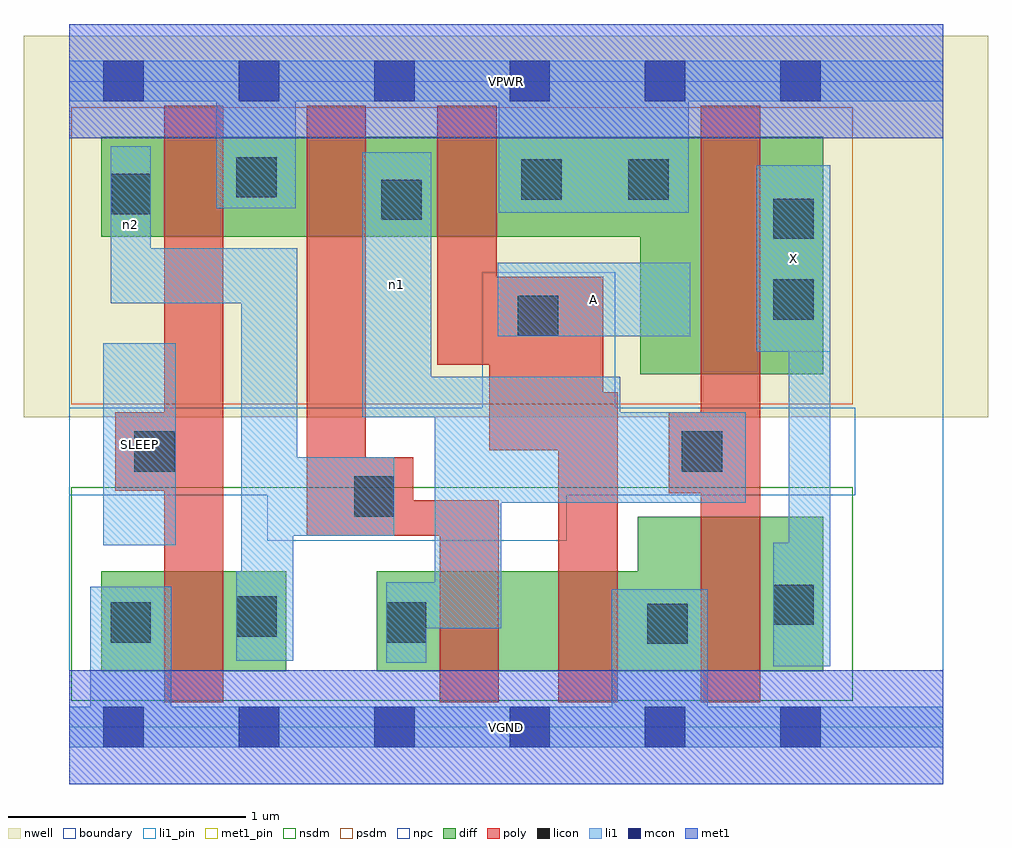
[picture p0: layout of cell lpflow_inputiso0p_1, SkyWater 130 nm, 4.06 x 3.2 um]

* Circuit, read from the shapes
.subckt lpflow_inputiso0p_1 A SLEEP VGND VPWR X n1 n2
XM1 n2 SLEEP VGND VSUBS sky130_fd_pr__nfet_01v8 w=0.42 l=0.25
XM2 n3 n2 n1 VSUBS sky130_fd_pr__nfet_01v8 w=0.42 l=0.25
XM3 VGND A n3 VSUBS sky130_fd_pr__nfet_01v8 w=0.42 l=0.25
XM4 X n1 VGND VSUBS sky130_fd_pr__nfet_01v8 w=0.65 l=0.25
XM5 VPWR SLEEP n2 n4 sky130_fd_pr__pfet_01v8 w=0.42 l=0.25
XM6 n1 n2 VPWR n4 sky130_fd_pr__pfet_01v8 w=0.42 l=0.25
XM7 VPWR A n1 n4 sky130_fd_pr__pfet_01v8 w=0.42 l=0.25
XM8 X n1 VPWR n4 sky130_fd_pr__pfet_01v8 w=1 l=0.25
.ends

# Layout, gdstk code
import gdstk
lib = gdstk.Library(unit=1e-6, precision=1e-09)
def R(c, l, rs):  # rectangles x0, y0, x1, y1
    for r in rs: c.add(gdstk.rectangle(r[:2], r[2:], *l))
def A(c, l, x, y, w, h, nx, ny, dx, dy):  # array of equal rectangles
    R(c, l, [(x+i*dx, y+j*dy, x+i*dx+w, y+j*dy+h) for i in range(nx) for j in range(ny)])
nwell = (64, 20)
diff = (65, 20)
poly = (66, 20)
licon = (66, 44)
li1_pin = (67, 16)
li1 = (67, 20)
mcon = (67, 44)
met1_pin = (68, 16)
met1 = (68, 20)
nsdm = (93, 44)
psdm = (94, 20)
npc = (95, 20)
boundary = (235, 4)

lpflow_inputiso0p_1 = lib.new_cell('lpflow_inputiso0p_1')
R(lpflow_inputiso0p_1, nwell, [(-0.19,1.305,3.87,2.91), (0,1.305,3.68,2.91)])
R(lpflow_inputiso0p_1, diff, [(0.135,0.235,0.915,0.655), (1.295,0.235,3.175,0.655), (2.395,0.235,3.175,0.885), (2.405,1.485,3.175,2.485), (0.135,2.065,3.175,2.485)])
R(lpflow_inputiso0p_1, poly, [(0.4,0.105,0.65,2.615), (1.56,0.105,1.81,0.955), (2.06,0.105,2.31,1.41), (2.66,0.105,2.91,2.615), (1,0.805,1.25,2.615), (1,0.805,1.45,1.135), (1,0.805,1.81,0.955), (2.525,0.985,2.91,1.325), (0.195,0.995,0.65,1.325), (1.77,1.165,2.25,1.895), (1.55,1.525,1.8,2.615)])
R(lpflow_inputiso0p_1, licon, [(2.435,0.35,2.605,0.52), (0.175,0.355,0.345,0.525), (1.335,0.355,1.505,0.525), (0.705,0.38,0.875,0.55), (2.965,0.43,3.135,0.6), (1.2,0.885,1.37,1.055), (0.275,1.075,0.445,1.245), (2.58,1.075,2.75,1.245), (1.89,1.645,2.06,1.815), (2.965,1.715,3.135,1.885), (2.965,2.055,3.135,2.225), (1.315,2.135,1.485,2.305), (0.175,2.16,0.345,2.33), (1.905,2.22,2.075,2.39), (2.355,2.22,2.525,2.39), (0.705,2.23,0.875,2.4)])
R(lpflow_inputiso0p_1, li1_pin, [(0.145,0.765,0.45,1.615), (2.895,1.58,3.205,2.365), (1.805,1.645,2.615,1.955)])
R(lpflow_inputiso0p_1, li1, [(0,-0.085,3.68,0.085), (0.09,-0.085,0.43,0.59), (2.285,-0.085,2.69,0.58), (2.965,0.255,3.205,0.775), (3.03,0.255,3.205,2.365), (1.335,0.27,1.505,0.61), (0.705,0.28,0.945,0.655), (0.725,0.28,0.945,2.015), (1.335,0.415,1.82,0.61), (1.54,0.415,1.82,1.475), (0.145,0.765,0.45,1.615), (0.725,0.805,1.37,1.135), (0.725,0.805,0.96,2.015), (1.54,0.945,2.85,1.325), (1.235,1.305,1.525,2.42), (1.235,1.305,2.32,1.475), (2.895,1.58,3.205,2.365), (1.805,1.645,2.615,1.955), (0.175,1.785,0.345,2.445), (0.175,1.785,0.96,2.015), (1.81,2.165,2.61,2.805), (0.62,2.185,0.955,2.805), (0,2.635,3.68,2.805)])
A(lpflow_inputiso0p_1, mcon, 0.145, -0.085, 0.17, 0.17, 6, 2, 0.57, 2.72)
R(lpflow_inputiso0p_1, met1_pin, [(0,-0.24,3.68,0.24), (0,2.48,3.68,2.96)])
R(lpflow_inputiso0p_1, met1, [(0,-0.24,3.68,0.24), (0,2.48,3.68,2.96)])
R(lpflow_inputiso0p_1, nsdm, [(0.01,0.11,3.3,1.01)])
R(lpflow_inputiso0p_1, psdm, [(0.01,1.36,3.3,2.61)])
R(lpflow_inputiso0p_1, npc, [(0.835,0.785,2.095,1.345), (0,0.975,3.31,1.345), (1.74,0.975,2.3,1.915)])
R(lpflow_inputiso0p_1, boundary, [(0,0,3.68,2.72)])
lpflow_inputiso0p_1.add(gdstk.Label('A', (2.21,1.8), layer=67, texttype=5))
lpflow_inputiso0p_1.add(gdstk.Label('SLEEP', (0.297,1.19), layer=67, texttype=5))
lpflow_inputiso0p_1.add(gdstk.Label('X', (3.05,1.972), layer=67, texttype=5))
lpflow_inputiso0p_1.add(gdstk.Label('n1', (1.38,1.862), layer=67, texttype=5))
lpflow_inputiso0p_1.add(gdstk.Label('n2', (0.26,2.115), layer=67, texttype=5))
lpflow_inputiso0p_1.add(gdstk.Label('VPWR', (1.84,2.72), layer=68, texttype=5))
lpflow_inputiso0p_1.add(gdstk.Label('VGND', (1.84,0), layer=68, texttype=5))
lpflow_inputiso0p_1.add(gdstk.Label('A', (2.21,1.8), layer=67, texttype=16))
lpflow_inputiso0p_1.add(gdstk.Label('SLEEP', (0.297,1.19), layer=67, texttype=16))
lpflow_inputiso0p_1.add(gdstk.Label('X', (3.05,1.972), layer=67, texttype=16))
lpflow_inputiso0p_1.add(gdstk.Label('VPWR', (1.84,2.72), layer=68, texttype=16))
lpflow_inputiso0p_1.add(gdstk.Label('VGND', (1.84,0), layer=68, texttype=16))

lib.write_gds('lpflow_inputiso0p_1.gds')
